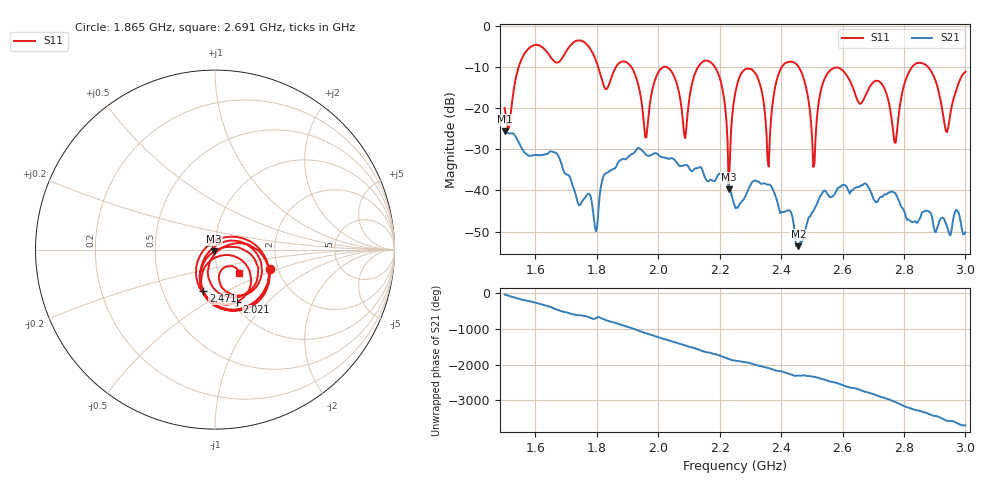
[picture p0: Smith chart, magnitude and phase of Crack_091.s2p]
# HZ S RI R 50
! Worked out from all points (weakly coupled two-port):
!   404 points, 1.5 GHz to 3 GHz, reference 50 ohm
!   highest |S21| = -25.65 dB at 1.5 GHz (marker M1); lowest = -53.5 dB at 2.457 GHz (marker M2)
!   lowest |S11| = -39.8 dB at 2.23 GHz (marker M3), VSWR 1.02, Z = 49.6 - j0.922 ohm
!   |S11| at or under -10 dB: 2.184 GHz to 2.403 GHz (218.5 MHz wide, 9.53 % of centre); 2.457 GHz to 2.827 GHz (370.2 MHz wide, 14 % of centre); 2.878 GHz to end of sweep (the widest 3 of 7)
!   S12 and S22 are empty: the file has one direction only
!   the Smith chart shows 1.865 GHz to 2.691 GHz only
!   S11 on the Smith chart (normalised r, x): 1.865 GHz: 1.80, -0.45; 2.021 GHz: 1.05, -0.68; 2.471 GHz: 0.79, -0.39; 2.691 GHz: 1.26, -0.34
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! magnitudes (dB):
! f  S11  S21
! 1.5 GHz  -20.0  -25.7
! 1.753 GHz  -3.8  -42.5
! 1.865 GHz  -9.8  -34.0
! 1.958 GHz  -27.1  -31.1
! 2.002 GHz  -11.1  -31.5
! 2.021 GHz  -10.0  -32.0
! 2.088 GHz  -27.3  -33.8
! 2.181 GHz  -9.7  -37.8
! 2.23 GHz  -39.8  -38.8
! 2.252 GHz  -16.0  -44.4
! 2.315 GHz  -11.5  -37.6
! 2.36 GHz  -34.2  -38.6
! 2.393 GHz  -11.5  -44.6
! 2.457 GHz  -10.0  -53.5
! 2.471 GHz  -12.4  -51.8
! 2.501 GHz  -27.6  -45.4
! 2.561 GHz  -10.8  -41.7
! 2.691 GHz  -14.6  -40.2
! 2.751 GHz  -18.6  -40.5
! 2.862 GHz  -9.2  -45.2
! 2.94 GHz  -25.8  -48.8
! 3 GHz  -11.2  -50.2
